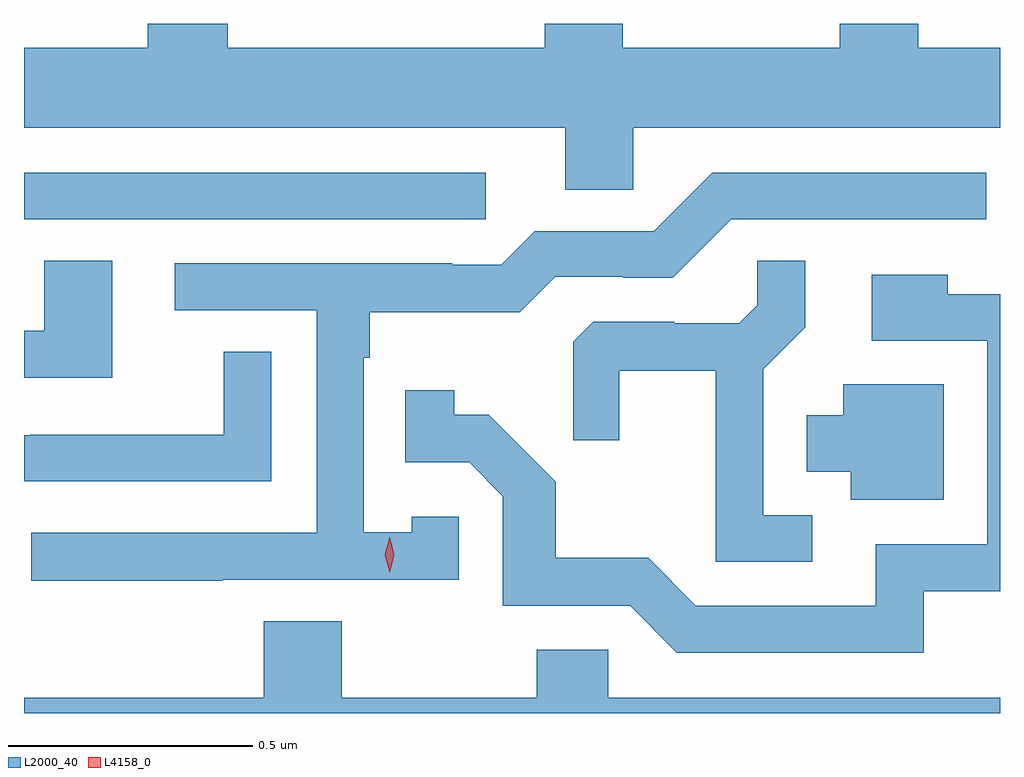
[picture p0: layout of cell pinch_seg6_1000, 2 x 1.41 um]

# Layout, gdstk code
import gdstk
lib = gdstk.Library(unit=1e-6, precision=1e-09)
def R(c, l, rs):  # rectangles x0, y0, x1, y1
    for r in rs: c.add(gdstk.rectangle(r[:2], r[2:], *l))
def P(c, l, *ps):  # polygons
    for p in ps: c.add(gdstk.Polygon(p, *l))
L2000_40 = (2000, 40)
L4158_0 = (4158, 0)

pinch_seg6_1000 = lib.new_cell('pinch_seg6_1000')
R(pinch_seg6_1000, L2000_40, [(332.586,916.512,333.532,916.608)])
P(pinch_seg6_1000, L2000_40, [(333.834,916.7),(334.586,916.7),(334.586,916.864),(334.418,916.864),(334.418,916.913),(334.258,916.913),(334.258,916.864),(333.813,916.864),(333.813,916.913),(333.653,916.913),(333.653,916.864),(333.004,916.864),(333.004,916.913),(332.84,916.913),(332.84,916.864),(332.586,916.864),(332.586,916.7),(333.695,916.7),(333.695,916.573),(333.834,916.573)],
  [(332.993,915.774),(333.477,915.774),(333.477,915.903),(333.381,915.903),(333.381,915.871),(333.282,915.871),(333.282,916.229),(333.295,916.229),(333.295,916.322),(333.602,916.322),(333.675,916.395),(333.814,916.395),(333.814,916.392),(333.915,916.392),(334.035,916.512),(334.558,916.512),(334.558,916.608),(333.996,916.608),(333.876,916.488),(333.633,916.488),(333.564,916.419),(333.464,916.419),(333.464,916.422),(332.895,916.422),(332.895,916.326),(333.186,916.326),(333.186,915.87),(332.601,915.87),(332.601,915.772),(332.993,915.772)],
  [(332.767,916.427),(332.627,916.427),(332.627,916.284),(332.586,916.284),(332.586,916.188),(332.767,916.188)],
  [(334.201,915.906),(334.101,915.906),(334.101,916.205),(334.187,916.291),(334.187,916.427),(334.089,916.427),(334.089,916.336),(334.052,916.299),(333.918,916.299),(333.918,916.302),(333.753,916.302),(333.712,916.261),(333.712,916.059),(333.806,916.059),(333.806,916.202),(334.004,916.202),(334.004,915.81),(334.201,915.81)],
  [(334.43,915.75),(334.586,915.75),(334.586,916.359),(334.479,916.359),(334.479,916.399),(334.323,916.399),(334.323,916.263),(334.56,916.263),(334.56,915.846),(334.331,915.846),(334.331,915.72),(333.963,915.72),(333.865,915.819),(333.676,915.819),(333.676,915.974),(333.538,916.112),(333.468,916.112),(333.468,916.162),(333.367,916.162),(333.367,916.014),(333.498,916.014),(333.567,915.945),(333.567,915.72),(333.828,915.72),(333.924,915.624),(334.43,915.624)],
  [(333.093,916.241),(332.995,916.241),(332.995,916.071),(332.599,916.071),(332.599,916.07),(332.586,916.07),(332.586,915.975),(333.093,915.975)],
  [(334.471,916.174),(334.265,916.174),(334.265,916.111),(334.19,916.111),(334.19,915.995),(334.28,915.995),(334.28,915.938),(334.471,915.938)],
  [(334.586,915.532),(333.783,915.532),(333.783,915.63),(333.637,915.63),(333.637,915.532),(333.237,915.532),(333.237,915.689),(333.077,915.689),(333.077,915.532),(332.586,915.532),(332.586,915.5),(334.586,915.5)])
P(pinch_seg6_1000, L4158_0, [(333.335,915.789),(333.335,915.789),(333.325,915.825),(333.335,915.861),(333.335,915.861),(333.335,915.861),(333.345,915.825),(333.335,915.789)])

lib.write_gds('pinch_seg6_1000.gds')
